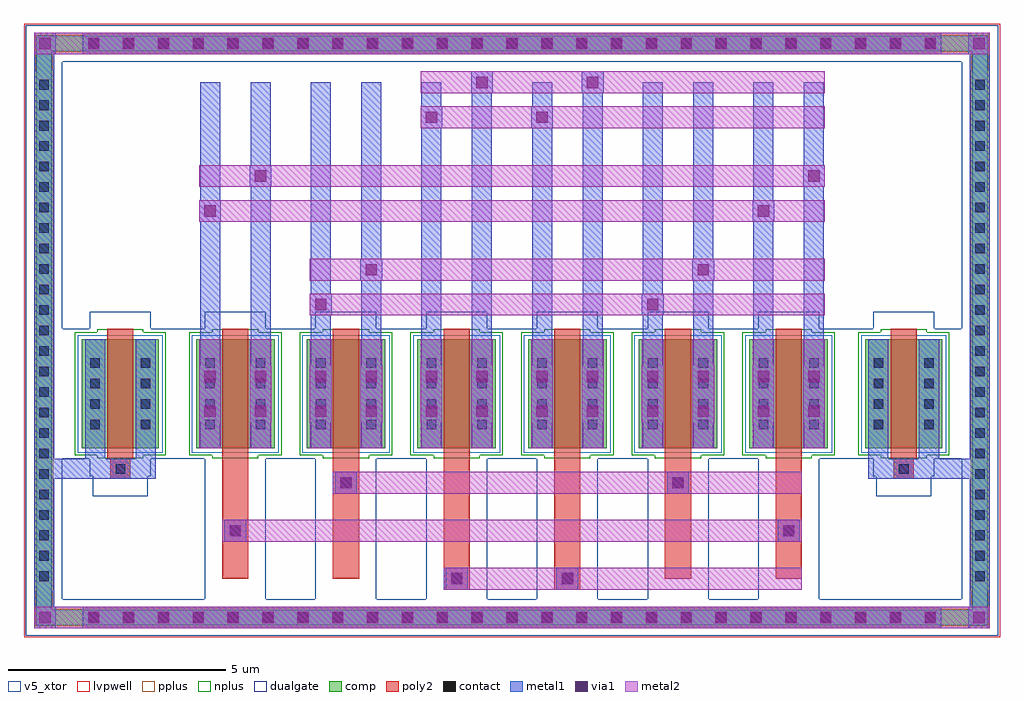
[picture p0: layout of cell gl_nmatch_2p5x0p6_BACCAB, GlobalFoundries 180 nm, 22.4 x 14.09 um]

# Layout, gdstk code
import gdstk
lib = gdstk.Library(unit=1e-6, precision=1e-09)
def R(c, l, rs):  # rectangles x0, y0, x1, y1
    for r in rs: c.add(gdstk.rectangle(r[:2], r[2:], *l))
def A(c, l, x, y, w, h, nx, ny, dx, dy):  # array of equal rectangles
    R(c, l, [(x+i*dx, y+j*dy, x+i*dx+w, y+j*dy+h) for i in range(nx) for j in range(ny)])
comp = (22, 0)
poly2 = (30, 0)
pplus = (31, 0)
nplus = (32, 0)
contact = (33, 0)
metal1 = (34, 0)
via1 = (35, 0)
metal2 = (36, 0)
dualgate = (55, 0)
v5_xtor = (112, 1)
lvpwell = (204, 0)

gl_nmatch_2p5x0p6_baccab = lib.new_cell('gl_nmatch_2p5x0p6_BACCAB')
A(gl_nmatch_2p5x0p6_baccab, comp, -7.25, -2.705, 1.8, 2.5, 6, 1, 2.54, 0)
R(gl_nmatch_2p5x0p6_baccab, comp, [(-10.92,-6.765,10.92,-6.405), (-10.92,-6.405,-10.56,6.405), (10.56,-6.405,10.92,6.405), (-9.87,-2.705,-8.11,-0.205), (8.11,-2.705,9.87,-0.205), (-10.92,6.405,10.92,6.765)])
R(gl_nmatch_2p5x0p6_baccab, poly2, [(-1.57,-5.945,-0.97,0.035), (0.97,-5.945,1.57,0.035), (-6.65,-5.695,-6.05,0.035), (-4.11,-5.695,-3.51,0.035), (3.51,-5.695,4.11,0.035), (6.05,-5.695,6.65,0.035), (-9.22,-3.405,-8.76,-2.945), (8.76,-3.405,9.22,-2.945), (-9.29,-2.945,-8.69,0.035), (8.69,-2.945,9.29,0.035)])
R(gl_nmatch_2p5x0p6_baccab, pplus, [(-9.81,-6.795,9.81,-6.785), (-10.94,-6.785,10.94,-6.385), (-10.94,-6.385,-10.54,-5.96), (-9.81,-6.385,9.81,-6.375), (10.54,-6.385,10.94,-5.96), (-10.95,-5.96,-10.53,5.96), (10.53,-5.96,10.95,5.96), (-10.94,5.96,-10.54,6.385), (10.54,5.96,10.94,6.385), (-9.81,6.375,9.81,6.385), (-10.94,6.385,10.94,6.785), (-9.81,6.785,9.81,6.795)])
A(gl_nmatch_2p5x0p6_baccab, nplus, -6.88, -2.935, 1.06, 0.07, 6, 2, 2.54, 2.89)
A(gl_nmatch_2p5x0p6_baccab, nplus, -7.41, -2.865, 2.12, 2.82, 6, 1, 2.54, 0)
R(gl_nmatch_2p5x0p6_baccab, nplus, [(-9.52,-2.935,-8.46,-2.865), (8.46,-2.935,9.52,-2.865), (-10.03,-2.865,-7.95,-0.045), (7.95,-2.865,10.03,-0.045), (-9.52,-0.045,-8.46,0.025), (8.46,-0.045,9.52,0.025)])
A(gl_nmatch_2p5x0p6_baccab, contact, -9.71, -6.695, 0.22, 0.22, 25, 2, 0.8, 13.17)
A(gl_nmatch_2p5x0p6_baccab, contact, -10.85, -5.75, 0.22, 0.22, 1, 25, 0, 0.47)
A(gl_nmatch_2p5x0p6_baccab, contact, 10.63, -5.75, 0.22, 0.22, 1, 25, 0, 0.47)
A(gl_nmatch_2p5x0p6_baccab, contact, -9.68, -2.27, 0.22, 0.22, 1, 4, 0, 0.47)
A(gl_nmatch_2p5x0p6_baccab, contact, -8.52, -2.27, 0.22, 0.22, 1, 4, 0, 0.47)
A(gl_nmatch_2p5x0p6_baccab, contact, -7.04, -2.27, 0.22, 0.22, 1, 4, 0, 0.47)
A(gl_nmatch_2p5x0p6_baccab, contact, -5.88, -2.27, 0.22, 0.22, 1, 4, 0, 0.47)
A(gl_nmatch_2p5x0p6_baccab, contact, -4.5, -2.27, 0.22, 0.22, 1, 4, 0, 0.47)
A(gl_nmatch_2p5x0p6_baccab, contact, -3.34, -2.27, 0.22, 0.22, 1, 4, 0, 0.47)
A(gl_nmatch_2p5x0p6_baccab, contact, -1.96, -2.27, 0.22, 0.22, 1, 4, 0, 0.47)
A(gl_nmatch_2p5x0p6_baccab, contact, -0.8, -2.27, 0.22, 0.22, 1, 4, 0, 0.47)
A(gl_nmatch_2p5x0p6_baccab, contact, 0.58, -2.27, 0.22, 0.22, 1, 4, 0, 0.47)
A(gl_nmatch_2p5x0p6_baccab, contact, 1.74, -2.27, 0.22, 0.22, 1, 4, 0, 0.47)
A(gl_nmatch_2p5x0p6_baccab, contact, 3.12, -2.27, 0.22, 0.22, 1, 4, 0, 0.47)
A(gl_nmatch_2p5x0p6_baccab, contact, 4.28, -2.27, 0.22, 0.22, 1, 4, 0, 0.47)
A(gl_nmatch_2p5x0p6_baccab, contact, 5.66, -2.27, 0.22, 0.22, 1, 4, 0, 0.47)
A(gl_nmatch_2p5x0p6_baccab, contact, 6.82, -2.27, 0.22, 0.22, 1, 4, 0, 0.47)
A(gl_nmatch_2p5x0p6_baccab, contact, 8.3, -2.27, 0.22, 0.22, 1, 4, 0, 0.47)
A(gl_nmatch_2p5x0p6_baccab, contact, 9.46, -2.27, 0.22, 0.22, 1, 4, 0, 0.47)
R(gl_nmatch_2p5x0p6_baccab, contact, [(-1.38,-5.805,-1.16,-5.585), (1.16,-5.805,1.38,-5.585), (-6.46,-4.705,-6.24,-4.485), (6.24,-4.705,6.46,-4.485), (-3.92,-3.605,-3.7,-3.385), (3.7,-3.605,3.92,-3.385), (-9.1,-3.285,-8.88,-3.065), (8.88,-3.285,9.1,-3.065)])
R(gl_nmatch_2p5x0p6_baccab, metal1, [(-10.97,-6.835,-10.47,-6.335), (-9.85,-6.835,9.85,-6.335), (10.47,-6.835,10.97,-6.335), (-10.97,-6.335,-10.51,-3.405), (10.51,-6.335,10.97,-3.405), (-1.52,-5.945,-1.02,-5.445), (1.02,-5.945,1.52,-5.445), (-6.6,-4.845,-6.1,-4.345), (6.1,-4.845,6.6,-4.345), (-4.06,-3.745,-3.56,-3.245), (3.56,-3.745,4.06,-3.245), (-10.97,-3.405,-8.18,-2.945), (8.18,-3.405,10.97,-2.945), (-10.97,-2.945,-10.51,6.335), (-9.8,-2.945,-9.34,-0.205), (-8.64,-2.945,-8.18,-0.205), (8.18,-2.945,8.64,-0.205), (9.34,-2.945,9.8,-0.205), (10.51,-2.945,10.97,6.335), (-7.16,-2.705,-6.7,-2.105), (-6,-2.705,-5.54,-2.105), (-4.62,-2.705,-4.16,-2.105), (-3.46,-2.705,-3,-2.105), (-2.08,-2.705,-1.62,-2.105), (-0.92,-2.705,-0.46,-2.105), (0.46,-2.705,0.92,-2.105), (1.62,-2.705,2.08,-2.105), (3,-2.705,3.46,-2.105), (4.16,-2.705,4.62,-2.105), (5.54,-2.705,6,-2.105), (6.7,-2.705,7.16,-2.105), (-7.18,-2.105,-6.68,-0.805), (-6.02,-2.105,-5.52,-0.805), (-4.64,-2.105,-4.14,-0.805), (-3.48,-2.105,-2.98,-0.805), (-2.1,-2.105,-1.6,-0.805), (-0.94,-2.105,-0.44,-0.805), (0.44,-2.105,0.94,-0.805), (1.6,-2.105,2.1,-0.805), (2.98,-2.105,3.48,-0.805), (4.14,-2.105,4.64,-0.805), (5.52,-2.105,6.02,-0.805), (6.68,-2.105,7.18,-0.805), (-7.16,-0.805,-6.7,2.495), (-6,-0.805,-5.54,3.295), (-4.62,-0.805,-4.16,0.345), (-3.46,-0.805,-3,1.145), (-2.08,-0.805,-1.62,4.645), (-0.92,-0.805,-0.46,5.445), (0.46,-0.805,0.92,4.645), (1.62,-0.805,2.08,5.445), (3,-0.805,3.46,0.345), (4.16,-0.805,4.62,1.145), (5.54,-0.805,6,2.495), (6.7,-0.805,7.16,3.295), (-4.64,0.345,-4.14,0.845), (2.98,0.345,3.48,0.845), (-4.62,0.845,-4.16,5.695), (3,0.845,3.46,5.695), (-3.48,1.145,-2.98,1.645), (4.14,1.145,4.64,1.645), (-3.46,1.645,-3,5.695), (4.16,1.645,4.62,5.695), (-7.18,2.495,-6.68,2.995), (5.52,2.495,6.02,2.995), (-7.16,2.995,-6.7,5.695), (5.54,2.995,6,5.695), (-6.02,3.295,-5.52,3.795), (6.68,3.295,7.18,3.795), (-6,3.795,-5.54,5.695), (6.7,3.795,7.16,5.695), (-2.1,4.645,-1.6,5.145), (0.44,4.645,0.94,5.145), (-2.08,5.145,-1.62,5.695), (0.46,5.145,0.92,5.695), (-0.94,5.445,-0.44,5.945), (1.6,5.445,2.1,5.945), (-10.97,6.335,-10.47,6.835), (-9.85,6.335,9.85,6.835), (10.47,6.335,10.97,6.835)])
A(gl_nmatch_2p5x0p6_baccab, via1, -9.73, -6.715, 0.26, 0.26, 25, 2, 0.8, 13.17)
R(gl_nmatch_2p5x0p6_baccab, via1, [(-10.85,-6.715,-10.59,-6.455), (10.59,-6.715,10.85,-6.455), (-1.4,-5.825,-1.14,-5.565), (1.14,-5.825,1.4,-5.565), (-6.48,-4.725,-6.22,-4.465), (6.22,-4.725,6.48,-4.465), (-3.94,-3.625,-3.68,-3.365), (3.68,-3.625,3.94,-3.365), (-7.06,-1.985,-6.8,-1.725), (-5.9,-1.985,-5.64,-1.725), (-4.52,-1.985,-4.26,-1.725), (-3.36,-1.985,-3.1,-1.725), (-1.98,-1.985,-1.72,-1.725), (-0.82,-1.985,-0.56,-1.725), (0.56,-1.985,0.82,-1.725), (1.72,-1.985,1.98,-1.725), (3.1,-1.985,3.36,-1.725), (4.26,-1.985,4.52,-1.725), (5.64,-1.985,5.9,-1.725), (6.8,-1.985,7.06,-1.725), (-7.06,-1.185,-6.8,-0.925), (-5.9,-1.185,-5.64,-0.925), (-4.52,-1.185,-4.26,-0.925), (-3.36,-1.185,-3.1,-0.925), (-1.98,-1.185,-1.72,-0.925), (-0.82,-1.185,-0.56,-0.925), (0.56,-1.185,0.82,-0.925), (1.72,-1.185,1.98,-0.925), (3.1,-1.185,3.36,-0.925), (4.26,-1.185,4.52,-0.925), (5.64,-1.185,5.9,-0.925), (6.8,-1.185,7.06,-0.925), (-4.52,0.465,-4.26,0.725), (3.1,0.465,3.36,0.725), (-3.36,1.265,-3.1,1.525), (4.26,1.265,4.52,1.525), (-7.06,2.615,-6.8,2.875), (5.64,2.615,5.9,2.875), (-5.9,3.415,-5.64,3.675), (6.8,3.415,7.06,3.675), (-1.98,4.765,-1.72,5.025), (0.56,4.765,0.82,5.025), (-0.82,5.565,-0.56,5.825), (1.72,5.565,1.98,5.825), (-10.85,6.455,-10.59,6.715), (10.59,6.455,10.85,6.715)])
R(gl_nmatch_2p5x0p6_baccab, metal2, [(-10.97,-6.835,10.97,-6.335), (-1.57,-5.945,6.65,-5.445), (-6.65,-4.845,6.65,-4.345), (-4.11,-3.745,6.65,-3.245), (-7.18,-2.705,-6.68,-0.205), (-6.02,-2.705,-5.52,-0.205), (-4.64,-2.705,-4.14,-0.205), (-3.48,-2.705,-2.98,-0.205), (-2.1,-2.705,-1.6,-0.205), (-0.94,-2.705,-0.44,-0.205), (0.44,-2.705,0.94,-0.205), (1.6,-2.705,2.1,-0.205), (2.98,-2.705,3.48,-0.205), (4.14,-2.705,4.64,-0.205), (5.52,-2.705,6.02,-0.205), (6.68,-2.705,7.18,-0.205), (-4.64,0.345,7.18,0.845), (-4.64,1.145,7.18,1.645), (-7.18,2.495,7.18,2.995), (-7.18,3.295,7.18,3.795), (-2.1,4.645,7.18,5.145), (-2.1,5.445,7.18,5.945), (-10.97,6.335,10.97,6.835)])
A(gl_nmatch_2p5x0p6_baccab, dualgate, -7.05, -6.165, 1.4, 3.22, 6, 1, 2.54, 0)
A(gl_nmatch_2p5x0p6_baccab, dualgate, -7.05, 0.035, 1.4, 0.4, 6, 1, 2.54, 0)
R(gl_nmatch_2p5x0p6_baccab, dualgate, [(-11.16,-7.005,11.16,-6.165), (-11.16,-6.165,-10.32,-2.945), (10.32,-6.165,11.16,-2.945), (-9.62,-3.805,-8.36,-3.345), (8.36,-3.805,9.62,-3.345), (-9.69,-3.345,-8.29,-2.945), (8.29,-3.345,9.69,-2.945), (-11.16,-2.945,11.16,0.035), (-11.16,0.035,-10.32,6.165), (-9.69,0.035,-8.29,0.435), (8.29,0.035,9.69,0.435), (10.32,0.035,11.16,6.165), (-11.16,6.165,11.16,7.005)])
A(gl_nmatch_2p5x0p6_baccab, v5_xtor, -7.35, -2.805, 2, 2.7, 6, 1, 2.54, 0)
R(gl_nmatch_2p5x0p6_baccab, v5_xtor, [(-9.97,-2.805,-8.01,-0.105), (8.01,-2.805,9.97,-0.105)])
R(gl_nmatch_2p5x0p6_baccab, lvpwell, [(-11.2,-7.045,11.2,7.045)])

lib.write_gds('gl_nmatch_2p5x0p6_BACCAB.gds')
